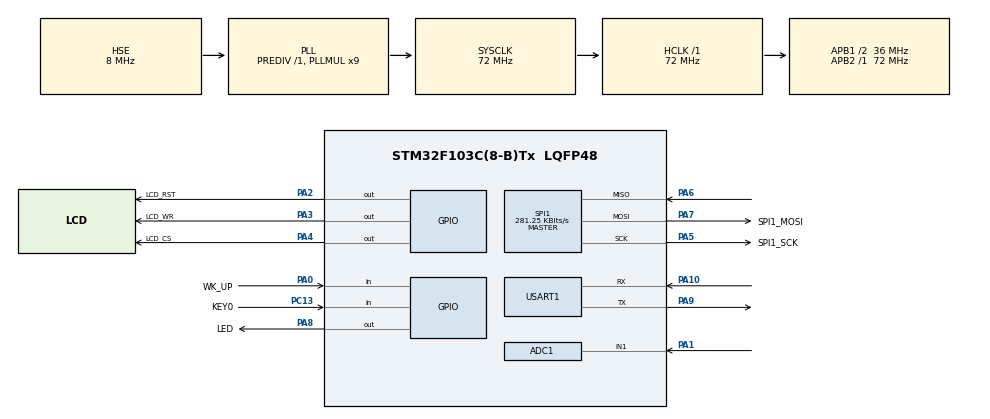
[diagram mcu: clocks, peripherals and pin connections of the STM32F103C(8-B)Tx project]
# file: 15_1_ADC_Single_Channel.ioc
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ADC1.Channel-0\#ChannelRegularConversion=ADC_CHANNEL_1
ADC1.NbrOfConversionFlag=1
ADC1.Rank-0\#ChannelRegularConversion=1
ADC1.SamplingTime-0\#ChannelRegularConversion=ADC_SAMPLETIME_239CYCLES_5
ADC1.master=1
Mcu.Family=STM32F1
Mcu.Name=STM32F103C(8-B)Tx
Mcu.Package=LQFP48
NVIC.PriorityGroup=NVIC_PRIORITYGROUP_2
NVIC.USART1_IRQn=true\:2\:0\:true\:false\:true\:true\:true\:true
PA0-WKUP.GPIO_Label=WK_UP
PA0-WKUP.GPIO_PuPd=GPIO_PULLDOWN
PA0-WKUP.Signal=GPIO_Input
PA1.Signal=ADCx_IN1
PA10.Mode=Asynchronous
PA10.Signal=USART1_RX
PA13.Mode=Serial_Wire
PA13.Signal=SYS_JTMS-SWDIO
PA14.Mode=Serial_Wire
PA14.Signal=SYS_JTCK-SWCLK
PA2.GPIO_Label=LCD_RST
PA2.GPIO_PuPd=GPIO_PULLUP
PA2.GPIO_Speed=GPIO_SPEED_FREQ_HIGH
PA2.PinState=GPIO_PIN_SET
PA2.Signal=GPIO_Output
PA3.GPIO_Label=LCD_WR
PA3.GPIO_PuPd=GPIO_PULLUP
PA3.GPIO_Speed=GPIO_SPEED_FREQ_HIGH
PA3.PinState=GPIO_PIN_SET
PA3.Signal=GPIO_Output
PA4.GPIO_Label=LCD_CS
PA4.GPIO_PuPd=GPIO_PULLUP
PA4.GPIO_Speed=GPIO_SPEED_FREQ_HIGH
PA4.PinState=GPIO_PIN_SET
PA4.Signal=GPIO_Output
PA5.GPIO_Label=SPI1_SCK
PA5.Mode=Full_Duplex_Master
PA5.Signal=SPI1_SCK
PA6.Mode=Full_Duplex_Master
PA6.Signal=SPI1_MISO
PA7.GPIO_Label=SPI1_MOSI
PA7.Mode=Full_Duplex_Master
PA7.Signal=SPI1_MOSI
PA8.GPIO_Label=LED
PA8.GPIO_PuPd=GPIO_PULLUP
PA8.GPIO_Speed=GPIO_SPEED_FREQ_HIGH
PA8.PinState=GPIO_PIN_SET
PA8.Signal=GPIO_Output
PA9.Mode=Asynchronous
PA9.Signal=USART1_TX
PC13-TAMPER-RTC.GPIO_Label=KEY0
PC13-TAMPER-RTC.GPIO_PuPd=GPIO_PULLUP
PC13-TAMPER-RTC.Signal=GPIO_Input
PC14-OSC32_IN.Mode=LSE-External-Oscillator
PC14-OSC32_IN.Signal=RCC_OSC32_IN
PC15-OSC32_OUT.Mode=LSE-External-Oscillator
PC15-OSC32_OUT.Signal=RCC_OSC32_OUT
PD0-OSC_IN.Mode=HSE-External-Oscillator
PD0-OSC_IN.Signal=RCC_OSC_IN
PD1-OSC_OUT.Mode=HSE-External-Oscillator
PD1-OSC_OUT.Signal=RCC_OSC_OUT
ProjectManager.HeapSize=0x200
ProjectManager.StackSize=0x400
ProjectManager.TargetToolchain=STM32CubeIDE
RCC.ADCPresc=RCC_ADCPCLK2_DIV6
RCC.AHBFreq_Value=72000000
RCC.APB1CLKDivider=RCC_HCLK_DIV2
RCC.APB1Freq_Value=36000000
RCC.APB1TimFreq_Value=72000000
RCC.APB2Freq_Value=72000000
RCC.APB2TimFreq_Value=72000000
RCC.HCLKFreq_Value=72000000
RCC.PLLMUL=RCC_PLL_MUL9
RCC.PLLSourceVirtual=RCC_PLLSOURCE_HSE
RCC.SYSCLKFreq_VALUE=72000000
RCC.SYSCLKSource=RCC_SYSCLKSOURCE_PLLCLK
RCC.USBFreq_Value=72000000
SH.ADCx_IN1.0=ADC1_IN1,IN1
SPI1.BaudRatePrescaler=SPI_BAUDRATEPRESCALER_256
SPI1.CLKPhase=SPI_PHASE_2EDGE
SPI1.CLKPolarity=SPI_POLARITY_HIGH
SPI1.CalculateBaudRate=281.25 KBits/s
SPI1.Direction=SPI_DIRECTION_2LINES
SPI1.Mode=SPI_MODE_MASTER
SPI1.VirtualType=VM_MASTER
USART1.VirtualMode=VM_ASYNC
board=custom

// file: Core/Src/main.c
/**
 ****************************************************************************************************
 * @file        main.c
 * @author      ALIENTEK
 * @brief       ADC_Single_Channel code
 * @license     Copyright (C) 2020-2032, ALIENTEK
 ****************************************************************************************************
 * @attention
 *
 * platform  	: ALIENTEK STM32F103 development board
 * website		: https://www.alientek.com
 * forum		: http://www.openedv.com/forum.php
 *
 * change logs	:
 * version		data		notes
 * V1.0			20240222	the first version
 *
 ****************************************************************************************************
 */

/* USER CODE BEGIN Header */

/* USER CODE END Header */
#include "main.h"
#include "adc.h"
#include "spi.h"
#include "usart.h"
#include "gpio.h"

/* USER CODE BEGIN Includes */
#include "../../BSP/LED/led.h"
#include "../../BSP/KEY/key.h"
/* USER CODE END Includes */

void SystemClock_Config(void);

/* USER CODE BEGIN 0 */

void stm32f103c8t6_show_mesg(void)
{
	/* The serial port outputs the experimental information */
	printf("\n");
	printf("********************************\r\n");
	printf("STM32F103\r\n");
	printf("ADC Test\r\n");
	printf("ATOM@ALIENTEK\r\n");
	printf("********************************\r\n");
	printf("\r\n");
}

/* USER CODE END 0 */

int main(void)
{
  /* USER CODE BEGIN 1 */

    uint16_t adcdata;
    uint16_t voltage;

  /* USER CODE END 1 */

  /* MCU Configuration--------------------------------------------------------*/

  /* Reset of all peripherals, Initializes the Flash interface and the Systick. */
  HAL_Init();

  /* Configure the system clock */
  SystemClock_Config();

  /* Initialize all configured peripherals */
  MX_GPIO_Init();
  MX_USART1_UART_Init();
  MX_SPI1_Init();
  MX_ADC1_Init();
  /* USER CODE BEGIN 2 */

  stm32f103c8t6_show_mesg();

  /* USER CODE END 2 */

  /* Infinite loop */
  /* USER CODE BEGIN WHILE */
  while (1)
  {
	  adcdata = adc_get_result_average(ADC_CHANNEL_1, 10); 	/* The result of ADC channel 10 conversion and mean filtering is obtained */
	  printf("  original value:%d\r\n",adcdata);

	  voltage = (adcdata * 3300) / 4095;                  	/* Calculate the actual voltage value (1000x enlargement) */
	  printf("voltage:%d.%d\r\n", voltage / 1000, voltage % 1000);

	  LED_TOGGLE();       /* LED state is flipped */
	  HAL_Delay(100);
    /* USER CODE END WHILE */

  }
}

void SystemClock_Config(void)
{
  RCC_OscInitTypeDef RCC_OscInitStruct = {0};
  RCC_ClkInitTypeDef RCC_ClkInitStruct = {0};
  RCC_PeriphCLKInitTypeDef PeriphClkInit = {0};

  /** Initializes the RCC Oscillators according to the specified parameters
  * in the RCC_OscInitTypeDef structure.
  */
  RCC_OscInitStruct.OscillatorType = RCC_OSCILLATORTYPE_HSE;
  RCC_OscInitStruct.HSEState = RCC_HSE_ON;
  RCC_OscInitStruct.HSEPredivValue = RCC_HSE_PREDIV_DIV1;
  RCC_OscInitStruct.HSIState = RCC_HSI_ON;
  RCC_OscInitStruct.PLL.PLLState = RCC_PLL_ON;
  RCC_OscInitStruct.PLL.PLLSource = RCC_PLLSOURCE_HSE;
  RCC_OscInitStruct.PLL.PLLMUL = RCC_PLL_MUL9;
  if (HAL_RCC_OscConfig(&RCC_OscInitStruct) != HAL_OK)
  {
    Error_Handler();
  }

  /** Initializes the CPU, AHB and APB buses clocks
  */
  RCC_ClkInitStruct.ClockType = RCC_CLOCKTYPE_HCLK|RCC_CLOCKTYPE_SYSCLK
                              |RCC_CLOCKTYPE_PCLK1|RCC_CLOCKTYPE_PCLK2;
  RCC_ClkInitStruct.SYSCLKSource = RCC_SYSCLKSOURCE_PLLCLK;
  RCC_ClkInitStruct.AHBCLKDivider = RCC_SYSCLK_DIV1;
  RCC_ClkInitStruct.APB1CLKDivider = RCC_HCLK_DIV2;
  RCC_ClkInitStruct.APB2CLKDivider = RCC_HCLK_DIV1;

  if (HAL_RCC_ClockConfig(&RCC_ClkInitStruct, FLASH_LATENCY_2) != HAL_OK)
  {
    Error_Handler();
  }
  PeriphClkInit.PeriphClockSelection = RCC_PERIPHCLK_ADC;
  PeriphClkInit.AdcClockSelection = RCC_ADCPCLK2_DIV6;
  if (HAL_RCCEx_PeriphCLKConfig(&PeriphClkInit) != HAL_OK)
  {
    Error_Handler();
  }
}

void Error_Handler(void)
{
  __disable_irq();
  while (1)
  {
  }
}
